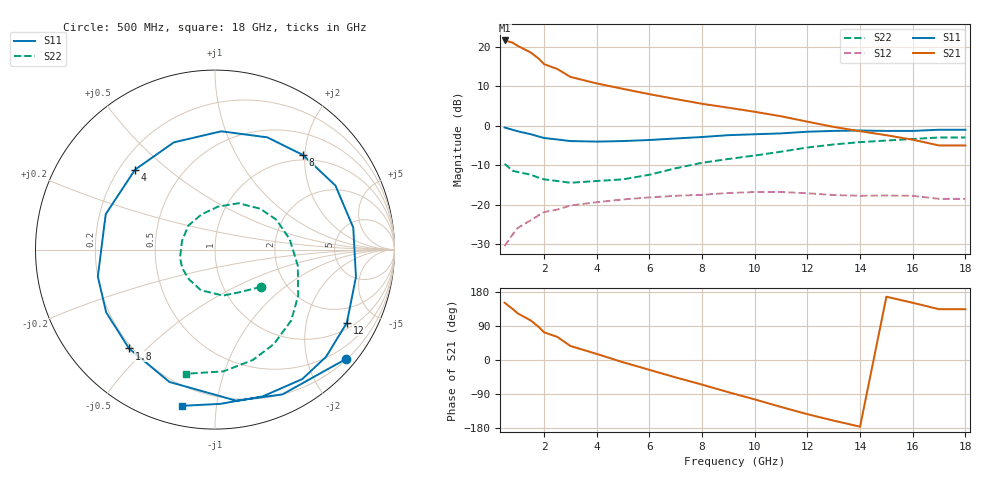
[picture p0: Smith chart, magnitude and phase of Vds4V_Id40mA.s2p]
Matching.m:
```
clear
clc
Z_Gopt =30.6794 +66.0481i;
Z_Lopt =21.3861 - 6.0750i;

Z_G =27.4689 +34.0398i;
Z_L =18.1365 + 3.3819i;


%f=2e9;
ckt = read(rfckt.amplifier, 'Vds4V_Id40mA.s2p');
%ckt = read(rfckt.amplifier,'default.s2p');
s_params = ckt.NetworkData.Data;
z0 = ckt.NetworkData.Z0;
zl = 21.3861 - 6.0750i;
coefficient = gammain(s_params,z0,zl);
plot(abs(coefficient))
[min,i]=min(coefficient)
```
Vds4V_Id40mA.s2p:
!ATF-34143
!S-PARAMETERS at Vds=4V  Id=40mA.  LAST UPDATED BY ME BENZATER 04.07.2020 	at 16H00
# ghz s ma r 50
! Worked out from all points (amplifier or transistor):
!   23 points, 500 MHz to 18 GHz, reference 50 ohm
!   highest |S21| = 21.6 dB at 500 MHz (marker M1)
!   |S21| within 3 dB of that: start of sweep to 1.478 GHz
!   unconditionally stable (mu >= 1): 4.499 GHz to end of sweep
!   at 1.5 GHz: K = 0.42, MSG = 21.2 dB, |S12| = -23.9 dB
!   at 7 GHz: K = 1.12, MAG = 10.1 dB, |S12| = -17.7 dB
!   at 18 GHz: K = 1.33, MAG = 3.3 dB, |S12| = -18.5 dB
!   lowest NFmin = 0.10 dB at 500 MHz
!   S11 on the Smith chart (normalised r, x): 500 MHz: 0.22, -2.73; 1.8 GHz: 0.19, -0.44; 4 GHz: 0.26, +0.39; 8 GHz: 0.90, +1.96; 12 GHz: 1.25, -3.45; 18 GHz: 0.10, -0.81
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0.5  0.95 -40.0  11.97 151.0  0.03 68.0  0.33 -39.0
1  0.85 -82.0  10.22 123.0  0.051 48.0  0.26 -80.0
1.8  0.73 -131.0  7.024 87.0  0.074 27.0  0.22 -131.0
2  0.7 -150.0  6.002 73.0  0.081 19.0  0.21 -150.0
3  0.64 162.0  4.141 37.0  0.098 -1.0  0.19 165.0
4  0.63 135.0  3.428 16.0  0.108 -13.0  0.2 138.0
6  0.66 87.0  2.506 -26.0  0.124 -41.0  0.24 86.0
8  0.72 47.0  1.894 -65.0  0.134 -68.0  0.34 42.0
10  0.78 9.0  1.501 -104.0  0.145 -97.0  0.42 8.0
12  0.84 -29.0  1.125 -143.0  0.14 -128.0  0.53 -29.0
18  0.89 -101.8  0.563 134.0  0.119 168.0  0.71 -103.0
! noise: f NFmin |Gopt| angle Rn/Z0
0.5  0.1  0.87  13  0.16
0.9  0.13  0.82  27  0.14
1.5  0.17  0.73  49  0.11
1.8  0.2  0.7  60  0.1
2.5  0.28  0.6  85  0.07
3  0.34  0.54  104  0.05
5  0.57  0.4  180  0.03
6  0.69  0.38  -144  0.05
8  0.94  0.43  -82  0.2
10  1.19  0.62  -40  0.47
